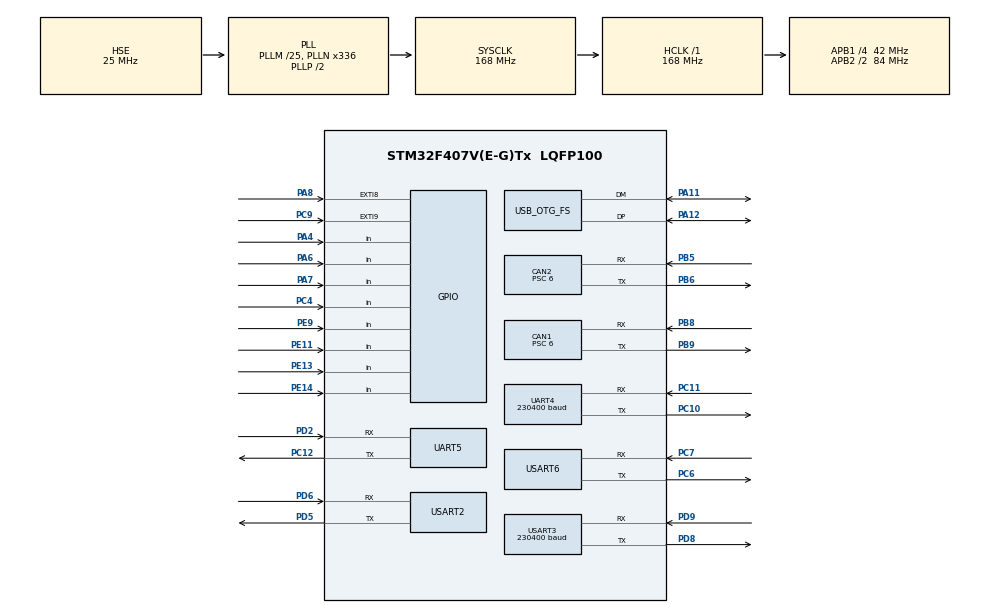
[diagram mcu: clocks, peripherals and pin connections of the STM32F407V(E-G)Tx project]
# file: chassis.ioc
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CAN1.BS1=CAN_BS1_3TQ
CAN1.BS2=CAN_BS2_3TQ
CAN1.CalculateBaudRate=1000000
CAN1.CalculateTimeBit=1000
CAN1.CalculateTimeQuantum=142.85714285714286
CAN1.Prescaler=6
CAN2.BS1=CAN_BS1_3TQ
CAN2.BS2=CAN_BS2_3TQ
CAN2.CalculateBaudRate=1000000
CAN2.CalculateTimeBit=1000
CAN2.CalculateTimeQuantum=142.85714285714286
CAN2.Mode=CAN_MODE_NORMAL
CAN2.Prescaler=6
Dma.Request0=UART4_RX
Dma.Request1=UART4_TX
Dma.Request2=UART5_RX
Dma.Request3=UART5_TX
Dma.Request4=USART3_RX
Dma.Request5=USART3_TX
Dma.Request6=USART2_TX
Dma.Request7=USART2_RX
Dma.Request8=USART6_RX
Dma.Request9=USART6_TX
Dma.UART4_RX.0.Direction=DMA_PERIPH_TO_MEMORY
Dma.UART4_RX.0.FIFOMode=DMA_FIFOMODE_DISABLE
Dma.UART4_RX.0.Instance=DMA1_Stream2
Dma.UART4_RX.0.MemDataAlignment=DMA_MDATAALIGN_BYTE
Dma.UART4_RX.0.MemInc=DMA_MINC_ENABLE
Dma.UART4_RX.0.Mode=DMA_NORMAL
Dma.UART4_RX.0.PeriphDataAlignment=DMA_PDATAALIGN_BYTE
Dma.UART4_RX.0.PeriphInc=DMA_PINC_DISABLE
Dma.UART4_RX.0.Priority=DMA_PRIORITY_LOW
Dma.UART4_TX.1.Direction=DMA_MEMORY_TO_PERIPH
Dma.UART4_TX.1.FIFOMode=DMA_FIFOMODE_DISABLE
Dma.UART4_TX.1.Instance=DMA1_Stream4
Dma.UART4_TX.1.MemDataAlignment=DMA_MDATAALIGN_BYTE
Dma.UART4_TX.1.MemInc=DMA_MINC_ENABLE
Dma.UART4_TX.1.Mode=DMA_NORMAL
Dma.UART4_TX.1.PeriphDataAlignment=DMA_PDATAALIGN_BYTE
Dma.UART4_TX.1.PeriphInc=DMA_PINC_DISABLE
Dma.UART4_TX.1.Priority=DMA_PRIORITY_LOW
Dma.UART5_RX.2.Direction=DMA_PERIPH_TO_MEMORY
Dma.UART5_RX.2.FIFOMode=DMA_FIFOMODE_DISABLE
Dma.UART5_RX.2.Instance=DMA1_Stream0
Dma.UART5_RX.2.MemDataAlignment=DMA_MDATAALIGN_BYTE
Dma.UART5_RX.2.MemInc=DMA_MINC_ENABLE
Dma.UART5_RX.2.Mode=DMA_NORMAL
Dma.UART5_RX.2.PeriphDataAlignment=DMA_PDATAALIGN_BYTE
Dma.UART5_RX.2.PeriphInc=DMA_PINC_DISABLE
Dma.UART5_RX.2.Priority=DMA_PRIORITY_LOW
Dma.UART5_TX.3.Direction=DMA_MEMORY_TO_PERIPH
Dma.UART5_TX.3.FIFOMode=DMA_FIFOMODE_DISABLE
Dma.UART5_TX.3.Instance=DMA1_Stream7
Dma.UART5_TX.3.MemDataAlignment=DMA_MDATAALIGN_BYTE
Dma.UART5_TX.3.MemInc=DMA_MINC_ENABLE
Dma.UART5_TX.3.Mode=DMA_NORMAL
Dma.UART5_TX.3.PeriphDataAlignment=DMA_PDATAALIGN_BYTE
Dma.UART5_TX.3.PeriphInc=DMA_PINC_DISABLE
Dma.UART5_TX.3.Priority=DMA_PRIORITY_LOW
Dma.USART2_RX.7.Direction=DMA_PERIPH_TO_MEMORY
Dma.USART2_RX.7.FIFOMode=DMA_FIFOMODE_DISABLE
Dma.USART2_RX.7.Instance=DMA1_Stream5
Dma.USART2_RX.7.MemDataAlignment=DMA_MDATAALIGN_BYTE
Dma.USART2_RX.7.MemInc=DMA_MINC_ENABLE
Dma.USART2_RX.7.Mode=DMA_NORMAL
Dma.USART2_RX.7.PeriphDataAlignment=DMA_PDATAALIGN_BYTE
Dma.USART2_RX.7.PeriphInc=DMA_PINC_DISABLE
Dma.USART2_RX.7.Priority=DMA_PRIORITY_LOW
Dma.USART2_TX.6.Direction=DMA_MEMORY_TO_PERIPH
Dma.USART2_TX.6.FIFOMode=DMA_FIFOMODE_DISABLE
Dma.USART2_TX.6.Instance=DMA1_Stream6
Dma.USART2_TX.6.MemDataAlignment=DMA_MDATAALIGN_BYTE
Dma.USART2_TX.6.MemInc=DMA_MINC_ENABLE
Dma.USART2_TX.6.Mode=DMA_NORMAL
Dma.USART2_TX.6.PeriphDataAlignment=DMA_PDATAALIGN_BYTE
Dma.USART2_TX.6.PeriphInc=DMA_PINC_DISABLE
Dma.USART2_TX.6.Priority=DMA_PRIORITY_LOW
Dma.USART3_RX.4.Direction=DMA_PERIPH_TO_MEMORY
Dma.USART3_RX.4.FIFOMode=DMA_FIFOMODE_DISABLE
Dma.USART3_RX.4.Instance=DMA1_Stream1
Dma.USART3_RX.4.MemDataAlignment=DMA_MDATAALIGN_BYTE
Dma.USART3_RX.4.MemInc=DMA_MINC_ENABLE
Dma.USART3_RX.4.Mode=DMA_NORMAL
Dma.USART3_RX.4.PeriphDataAlignment=DMA_PDATAALIGN_BYTE
Dma.USART3_RX.4.PeriphInc=DMA_PINC_DISABLE
Dma.USART3_RX.4.Priority=DMA_PRIORITY_LOW
Dma.USART3_TX.5.Direction=DMA_MEMORY_TO_PERIPH
Dma.USART3_TX.5.FIFOMode=DMA_FIFOMODE_DISABLE
Dma.USART3_TX.5.Instance=DMA1_Stream3
Dma.USART3_TX.5.MemDataAlignment=DMA_MDATAALIGN_BYTE
Dma.USART3_TX.5.MemInc=DMA_MINC_ENABLE
Dma.USART3_TX.5.Mode=DMA_NORMAL
Dma.USART3_TX.5.PeriphDataAlignment=DMA_PDATAALIGN_BYTE
Dma.USART3_TX.5.PeriphInc=DMA_PINC_DISABLE
Dma.USART3_TX.5.Priority=DMA_PRIORITY_LOW
Dma.USART6_RX.8.Direction=DMA_PERIPH_TO_MEMORY
Dma.USART6_RX.8.FIFOMode=DMA_FIFOMODE_DISABLE
Dma.USART6_RX.8.Instance=DMA2_Stream1
Dma.USART6_RX.8.MemDataAlignment=DMA_MDATAALIGN_BYTE
Dma.USART6_RX.8.MemInc=DMA_MINC_ENABLE
Dma.USART6_RX.8.Mode=DMA_NORMAL
Dma.USART6_RX.8.PeriphDataAlignment=DMA_PDATAALIGN_BYTE
Dma.USART6_RX.8.PeriphInc=DMA_PINC_DISABLE
Dma.USART6_RX.8.Priority=DMA_PRIORITY_LOW
Dma.USART6_TX.9.Direction=DMA_MEMORY_TO_PERIPH
Dma.USART6_TX.9.FIFOMode=DMA_FIFOMODE_DISABLE
Dma.USART6_TX.9.Instance=DMA2_Stream6
Dma.USART6_TX.9.MemDataAlignment=DMA_MDATAALIGN_BYTE
Dma.USART6_TX.9.MemInc=DMA_MINC_ENABLE
Dma.USART6_TX.9.Mode=DMA_NORMAL
Dma.USART6_TX.9.PeriphDataAlignment=DMA_PDATAALIGN_BYTE
Dma.USART6_TX.9.PeriphInc=DMA_PINC_DISABLE
Dma.USART6_TX.9.Priority=DMA_PRIORITY_LOW
FREERTOS.INCLUDE_uxTaskGetStackHighWaterMark=1
FREERTOS.INCLUDE_vTaskDelayUntil=1
FREERTOS.Tasks01=defaultTask,0,128,StartDefaultTask,Default,NULL,Dynamic,NULL,NULL
FREERTOS.configTOTAL_HEAP_SIZE=40960
FREERTOS.configUSE_TIMERS=1
Mcu.Family=STM32F4
Mcu.Name=STM32F407V(E-G)Tx
Mcu.Package=LQFP100
NVIC.CAN1_RX0_IRQn=true\:5\:0\:false\:false\:true\:true\:true\:true\:true
NVIC.CAN1_TX_IRQn=true\:5\:0\:false\:false\:true\:true\:true\:true\:true
NVIC.CAN2_RX1_IRQn=true\:5\:0\:false\:false\:true\:true\:true\:true\:true
NVIC.CAN2_TX_IRQn=true\:5\:0\:false\:false\:true\:true\:true\:true\:true
NVIC.DMA1_Stream0_IRQn=true\:5\:0\:false\:false\:true\:true\:false\:true\:true
NVIC.DMA1_Stream1_IRQn=true\:5\:0\:false\:false\:true\:true\:false\:true\:true
NVIC.DMA1_Stream2_IRQn=true\:5\:0\:false\:false\:true\:true\:false\:true\:true
NVIC.DMA1_Stream3_IRQn=true\:5\:0\:false\:false\:true\:true\:false\:true\:true
NVIC.DMA1_Stream4_IRQn=true\:5\:0\:false\:false\:true\:true\:false\:true\:true
NVIC.DMA1_Stream5_IRQn=true\:5\:0\:false\:false\:true\:true\:false\:true\:true
NVIC.DMA1_Stream6_IRQn=true\:5\:0\:false\:false\:true\:true\:false\:true\:true
NVIC.DMA1_Stream7_IRQn=true\:5\:0\:false\:false\:true\:true\:false\:true\:true
NVIC.DMA2_Stream1_IRQn=true\:5\:0\:false\:false\:true\:true\:false\:true\:true
NVIC.DMA2_Stream6_IRQn=true\:5\:0\:false\:false\:true\:true\:false\:true\:true
NVIC.EXTI9_5_IRQn=true\:5\:0\:false\:false\:true\:true\:true\:true\:true
NVIC.OTG_FS_IRQn=true\:5\:0\:false\:false\:true\:true\:false\:true\:true
NVIC.PriorityGroup=NVIC_PRIORITYGROUP_4
NVIC.TIM8_TRG_COM_TIM14_IRQn=true\:15\:0\:false\:false\:true\:false\:true\:true\:true
NVIC.TimeBase=TIM8_TRG_COM_TIM14_IRQn
NVIC.TimeBaseIP=TIM14
NVIC.UART4_IRQn=true\:5\:0\:false\:false\:true\:true\:true\:true\:true
NVIC.UART5_IRQn=true\:5\:0\:false\:false\:true\:true\:true\:true\:true
NVIC.USART2_IRQn=true\:5\:0\:false\:false\:true\:true\:true\:true\:true
NVIC.USART3_IRQn=true\:5\:0\:false\:false\:true\:true\:true\:true\:true
NVIC.USART6_IRQn=true\:5\:0\:false\:false\:true\:true\:true\:true\:true
PA11.Mode=Device_Only
PA11.Signal=USB_OTG_FS_DM
PA12.Mode=Device_Only
PA12.Signal=USB_OTG_FS_DP
PA13.Mode=Serial_Wire
PA13.Signal=SYS_JTMS-SWDIO
PA14.Mode=Serial_Wire
PA14.Signal=SYS_JTCK-SWCLK
PA4.GPIO_PuPd=GPIO_PULLDOWN
PA4.Signal=GPIO_Input
PA6.GPIO_PuPd=GPIO_PULLDOWN
PA6.Signal=GPIO_Input
PA7.GPIO_PuPd=GPIO_PULLDOWN
PA7.Signal=GPIO_Input
PA8.GPIO_ModeDefaultEXTI=GPIO_MODE_IT_RISING_FALLING
PA8.GPIO_PuPd=GPIO_PULLDOWN
PA8.Signal=GPXTI8
PB5.Mode=CAN_Activate
PB5.Signal=CAN2_RX
PB6.Mode=CAN_Activate
PB6.Signal=CAN2_TX
PB8.Mode=CAN_Activate
PB8.Signal=CAN1_RX
PB9.Mode=CAN_Activate
PB9.Signal=CAN1_TX
PC10.Mode=Asynchronous
PC10.Signal=UART4_TX
PC11.Mode=Asynchronous
PC11.Signal=UART4_RX
PC12.Mode=Asynchronous
PC12.Signal=UART5_TX
PC4.GPIO_PuPd=GPIO_PULLDOWN
PC4.Signal=GPIO_Input
PC6.Mode=Asynchronous
PC6.Signal=USART6_TX
PC7.Mode=Asynchronous
PC7.Signal=USART6_RX
PC9.GPIO_ModeDefaultEXTI=GPIO_MODE_IT_RISING_FALLING
PC9.GPIO_PuPd=GPIO_PULLDOWN
PC9.Signal=GPXTI9
PD2.Mode=Asynchronous
PD2.Signal=UART5_RX
PD5.Mode=Asynchronous
PD5.Signal=USART2_TX
PD6.Mode=Asynchronous
PD6.Signal=USART2_RX
PD8.Mode=Asynchronous
PD8.Signal=USART3_TX
PD9.Mode=Asynchronous
PD9.Signal=USART3_RX
PE11.GPIO_PuPd=GPIO_PULLDOWN
PE11.Signal=GPIO_Input
PE13.GPIO_PuPd=GPIO_PULLDOWN
PE13.Signal=GPIO_Input
PE14.GPIO_PuPd=GPIO_PULLDOWN
PE14.Signal=GPIO_Input
PE9.GPIO_PuPd=GPIO_PULLDOWN
PE9.Signal=GPIO_Input
PH0-OSC_IN.Mode=HSE-External-Oscillator
PH0-OSC_IN.Signal=RCC_OSC_IN
PH1-OSC_OUT.Mode=HSE-External-Oscillator
PH1-OSC_OUT.Signal=RCC_OSC_OUT
ProjectManager.HeapSize=0x1000
ProjectManager.StackSize=0x400
ProjectManager.TargetToolchain=MDK-ARM V5
RCC.48MHZClocksFreq_Value=48000000
RCC.AHBFreq_Value=168000000
RCC.APB1CLKDivider=RCC_HCLK_DIV4
RCC.APB1Freq_Value=42000000
RCC.APB1TimFreq_Value=84000000
RCC.APB2CLKDivider=RCC_HCLK_DIV2
RCC.APB2Freq_Value=84000000
RCC.APB2TimFreq_Value=168000000
RCC.CortexFreq_Value=168000000
RCC.HCLKFreq_Value=168000000
RCC.HSE_VALUE=25000000
RCC.HSI_VALUE=16000000
RCC.LSE_VALUE=32768
RCC.PLLM=25
RCC.PLLN=336
RCC.PLLQ=7
RCC.SYSCLKFreq_VALUE=168000000
RCC.SYSCLKSource=RCC_SYSCLKSOURCE_PLLCLK
RCC.VCOOutputFreq_Value=336000000
UART4.BaudRate=230400
UART4.VirtualMode=Asynchronous
UART5.VirtualMode=Asynchronous
USART2.VirtualMode=VM_ASYNC
USART3.BaudRate=230400
USART3.VirtualMode=VM_ASYNC
USART6.VirtualMode=VM_ASYNC
USB_DEVICE.CLASS_NAME_FS=CDC
USB_DEVICE.VirtualMode-CDC_FS=Cdc
USB_DEVICE.VirtualModeFS=Cdc_FS
USB_OTG_FS.VirtualMode=Device_Only
VP_FREERTOS_VS_CMSIS_V1.Mode=CMSIS_V1
VP_SYS_VS_tim14.Mode=TIM14
VP_USB_DEVICE_VS_USB_DEVICE_CDC_FS.Mode=CDC_FS
board=custom

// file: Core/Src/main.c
/* USER CODE BEGIN Header */
/**
  ******************************************************************************
  * @file           : main.c
  * @brief          : Main program body
  ******************************************************************************
  * @attention
  *
  * Copyright (c) 2024 STMicroelectronics.
  * All rights reserved.
  *
  * This software is licensed under terms that can be found in the LICENSE file
  * in the root directory of this software component.
  * If no LICENSE file comes with this software, it is provided AS-IS.
  *
  ******************************************************************************
  */
/* USER CODE END Header */
#include "main.h"
#include "cmsis_os.h"
#include "can.h"
#include "dma.h"
#include "usart.h"
#include "usb_device.h"
#include "gpio.h"

/* USER CODE BEGIN Includes */
#include "RMLibHead.h"
#include "CANDrive.h"
#include "encoder.h"
#include "Task_Init.h"
#include "Task_Init_Main.h"
/* USER CODE END Includes */

void SystemClock_Config(void);
void MX_FREERTOS_Init(void);

int main(void)
{

  /* MCU Configuration--------------------------------------------------------*/

  /* Reset of all peripherals, Initializes the Flash interface and the Systick. */
  HAL_Init();

  /* Configure the system clock */
  SystemClock_Config();

  /* Initialize all configured peripherals */
  MX_GPIO_Init();
  MX_DMA_Init();
  MX_CAN1_Init();
  MX_CAN2_Init();
  MX_UART4_Init();
  MX_UART5_Init();
  MX_USART3_UART_Init();
  MX_USART2_UART_Init();
  MX_USART6_UART_Init();
  /* USER CODE BEGIN 2 */
	MX_USB_DEVICE_Init();
	Task_Init();
  /* USER CODE END 2 */

  /* Call init function for freertos objects (in cmsis_os2.c) */
  MX_FREERTOS_Init();

  /* Start scheduler */
  osKernelStart();

  /* We should never get here as control is now taken by the scheduler */

  /* Infinite loop */
  while (1)
  {

  }
}

void SystemClock_Config(void)
{
  RCC_OscInitTypeDef RCC_OscInitStruct = {0};
  RCC_ClkInitTypeDef RCC_ClkInitStruct = {0};

  /** Configure the main internal regulator output voltage
  */
  __HAL_RCC_PWR_CLK_ENABLE();
  __HAL_PWR_VOLTAGESCALING_CONFIG(PWR_REGULATOR_VOLTAGE_SCALE1);

  /** Initializes the RCC Oscillators according to the specified parameters
  * in the RCC_OscInitTypeDef structure.
  */
  RCC_OscInitStruct.OscillatorType = RCC_OSCILLATORTYPE_HSE;
  RCC_OscInitStruct.HSEState = RCC_HSE_ON;
  RCC_OscInitStruct.PLL.PLLState = RCC_PLL_ON;
  RCC_OscInitStruct.PLL.PLLSource = RCC_PLLSOURCE_HSE;
  RCC_OscInitStruct.PLL.PLLM = 25;
  RCC_OscInitStruct.PLL.PLLN = 336;
  RCC_OscInitStruct.PLL.PLLP = RCC_PLLP_DIV2;
  RCC_OscInitStruct.PLL.PLLQ = 7;
  if (HAL_RCC_OscConfig(&RCC_OscInitStruct) != HAL_OK)
  {
    Error_Handler();
  }

  /** Initializes the CPU, AHB and APB buses clocks
  */
  RCC_ClkInitStruct.ClockType = RCC_CLOCKTYPE_HCLK|RCC_CLOCKTYPE_SYSCLK
                              |RCC_CLOCKTYPE_PCLK1|RCC_CLOCKTYPE_PCLK2;
  RCC_ClkInitStruct.SYSCLKSource = RCC_SYSCLKSOURCE_PLLCLK;
  RCC_ClkInitStruct.AHBCLKDivider = RCC_SYSCLK_DIV1;
  RCC_ClkInitStruct.APB1CLKDivider = RCC_HCLK_DIV4;
  RCC_ClkInitStruct.APB2CLKDivider = RCC_HCLK_DIV2;

  if (HAL_RCC_ClockConfig(&RCC_ClkInitStruct, FLASH_LATENCY_5) != HAL_OK)
  {
    Error_Handler();
  }
}

void HAL_TIM_PeriodElapsedCallback(TIM_HandleTypeDef *htim)
{
  if (htim->Instance == TIM14)
  {
    HAL_IncTick();
  }
}

void Error_Handler(void)
{
  __disable_irq();
  while (1)
  {
  }
}

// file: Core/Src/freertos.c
/* USER CODE BEGIN Header */
/**
  ******************************************************************************
  * File Name          : freertos.c
  * Description        : Code for freertos applications
  ******************************************************************************
  * @attention
  *
  * Copyright (c) 2024 STMicroelectronics.
  * All rights reserved.
  *
  * This software is licensed under terms that can be found in the LICENSE file
  * in the root directory of this software component.
  * If no LICENSE file comes with this software, it is provided AS-IS.
  *
  ******************************************************************************
  */
/* USER CODE END Header */

#include "FreeRTOS.h"
#include "task.h"
#include "main.h"
#include "cmsis_os.h"

/* USER CODE BEGIN Includes */
#include "Task_Init.h"
#include "semphr.h"
#include "comm_stm32_hal_middle.h"
#include "Task_Init_Main.h"
/* USER CODE END Includes */

/* USER CODE BEGIN PD */
SemaphoreHandle_t Remote_semaphore;
uint16_t _stack[9] = {0};
extern TaskHandle_t Remote_Analysis_Handle;
extern TaskHandle_t UartTxTask_Handle;
extern TaskHandle_t Uart_Tx_Handle;
extern TaskHandle_t task_handle;
extern TaskHandle_t SendDataPackTask_handle;
extern TaskHandle_t ReceiveDataPackTask_handle;
extern TaskHandle_t ACKTimeoutCheckTask_handle;
extern CommHandle_t *g_comm_handle;
/* USER CODE END PD */

osThreadId defaultTaskHandle;

void StartDefaultTask(void const * argument);

extern void MX_USB_DEVICE_Init(void);
void MX_FREERTOS_Init(void); /* (MISRA C 2004 rule 8.1) */

/* GetIdleTaskMemory prototype (linked to static allocation support) */
void vApplicationGetIdleTaskMemory( StaticTask_t **ppxIdleTaskTCBBuffer, StackType_t **ppxIdleTaskStackBuffer, uint32_t *pulIdleTaskStackSize );

/* GetTimerTaskMemory prototype (linked to static allocation support) */
void vApplicationGetTimerTaskMemory( StaticTask_t **ppxTimerTaskTCBBuffer, StackType_t **ppxTimerTaskStackBuffer, uint32_t *pulTimerTaskStackSize );

/* USER CODE BEGIN GET_IDLE_TASK_MEMORY */
static StaticTask_t xIdleTaskTCBBuffer;
static StackType_t xIdleStack[configMINIMAL_STACK_SIZE];

void vApplicationGetIdleTaskMemory( StaticTask_t **ppxIdleTaskTCBBuffer, StackType_t **ppxIdleTaskStackBuffer, uint32_t *pulIdleTaskStackSize )
{
  *ppxIdleTaskTCBBuffer = &xIdleTaskTCBBuffer;
  *ppxIdleTaskStackBuffer = &xIdleStack[0];
  *pulIdleTaskStackSize = configMINIMAL_STACK_SIZE;
  /* place for user code */
}
/* USER CODE END GET_IDLE_TASK_MEMORY */

/* USER CODE BEGIN GET_TIMER_TASK_MEMORY */
static StaticTask_t xTimerTaskTCBBuffer;
static StackType_t xTimerStack[configTIMER_TASK_STACK_DEPTH];

void vApplicationGetTimerTaskMemory( StaticTask_t **ppxTimerTaskTCBBuffer, StackType_t **ppxTimerTaskStackBuffer, uint32_t *pulTimerTaskStackSize )
{
  *ppxTimerTaskTCBBuffer = &xTimerTaskTCBBuffer;
  *ppxTimerTaskStackBuffer = &xTimerStack[0];
  *pulTimerTaskStackSize = configTIMER_TASK_STACK_DEPTH;
  /* place for user code */
}
/* USER CODE END GET_TIMER_TASK_MEMORY */

void MX_FREERTOS_Init(void) {

  /* USER CODE BEGIN RTOS_QUEUES */
  /* add queues, ... */
  Remote_semaphore =xSemaphoreCreateBinary();
  /* USER CODE END RTOS_QUEUES */

  /* Create the thread(s) */
  /* definition and creation of defaultTask */
  osThreadDef(defaultTask, StartDefaultTask, osPriorityNormal, 0, 128);
  defaultTaskHandle = osThreadCreate(osThread(defaultTask), NULL);

}

void StartDefaultTask(void const * argument)
{
  /* init code for USB_DEVICE */
  MX_USB_DEVICE_Init();
	Task_Init_Main();
  /* USER CODE BEGIN StartDefaultTask */
  /* Infinite loop */
  for(;;)
  {
		_stack[0]=uxTaskGetStackHighWaterMark(UartTxTask_Handle);
		_stack[1]=uxTaskGetStackHighWaterMark(Uart_Tx_Handle);
		_stack[2]=uxTaskGetStackHighWaterMark(task_handle);
		_stack[3]=uxTaskGetStackHighWaterMark(SendDataPackTask_handle);
		_stack[4]=uxTaskGetStackHighWaterMark(ReceiveDataPackTask_handle);
		_stack[5]=uxTaskGetStackHighWaterMark(ACKTimeoutCheckTask_handle);
		_stack[6]=uxTaskGetStackHighWaterMark(defaultTaskHandle);
		_stack[7]=uxTaskGetStackHighWaterMark(g_comm_handle->tx_task_handle);
		_stack[8]=uxTaskGetStackHighWaterMark(Remote_Analysis_Handle);
    osDelay(1000);
  }
  /* USER CODE END StartDefaultTask */
}
